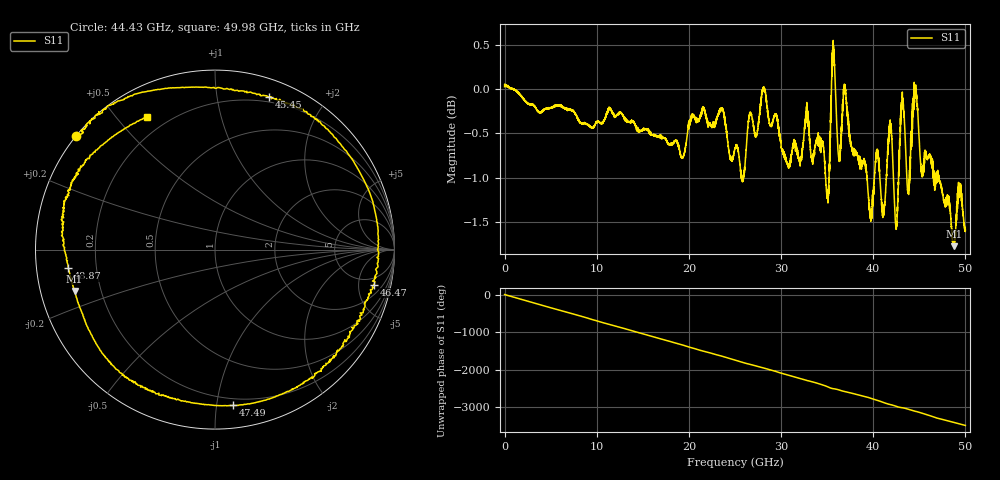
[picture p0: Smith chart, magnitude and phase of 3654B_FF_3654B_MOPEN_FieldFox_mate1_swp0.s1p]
!Created with skrf (http://scikit-rf.org).
# Hz S RI R 50.0
!freq ReS11 ImS11
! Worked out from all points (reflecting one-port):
!   10001 points, 300 kHz to 50 GHz, reference 50 ohm
!   lowest |S11| = -1.8 dB at 48.74 GHz (marker M1), VSWR 9.82, Z = 5.2 - j7.12 ohm
!   phase of S11 starts at 0 deg and turns -3484 deg over the sweep
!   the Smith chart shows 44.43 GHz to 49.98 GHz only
!   S11 on the Smith chart (normalised r, x): 44.43 GHz: -0.00, +0.36; 45.45 GHz: 0.15, +1.40; 46.47 GHz: 3.45, -7.64; 47.49 GHz: 0.15, -1.11; 48.87 GHz: 0.10, -0.06; 49.98 GHz: 0.13, +0.61
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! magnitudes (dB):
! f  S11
! 300 kHz  0.0
! 6.25 GHz  -0.2
! 12.5 GHz  -0.3
! 18.75 GHz  -0.6
! 25 GHz  -0.7
! 28.12 GHz  0.0
! 31.25 GHz  -0.7
! 32.79 GHz  -0.2
! 35.02 GHz  -1.2
! 35.69 GHz  0.4
! 36.26 GHz  -0.8
! 36.91 GHz  0.0
! 37.5 GHz  -0.6
! 39.75 GHz  -1.4
! 40.42 GHz  -0.7
! 41.15 GHz  -1.4
! 41.86 GHz  -0.4
! 42.49 GHz  -1.6
! 43.19 GHz  -0.2
! 43.75 GHz  -1.1
! 44.43 GHz  0.0
! 45.45 GHz  -0.9
! 46.47 GHz  -0.8
! 47.49 GHz  -1.2
! 48.74 GHz  -1.8
! 48.87 GHz  -1.7
! 49.98 GHz  -1.6
! 50 GHz  -1.6
